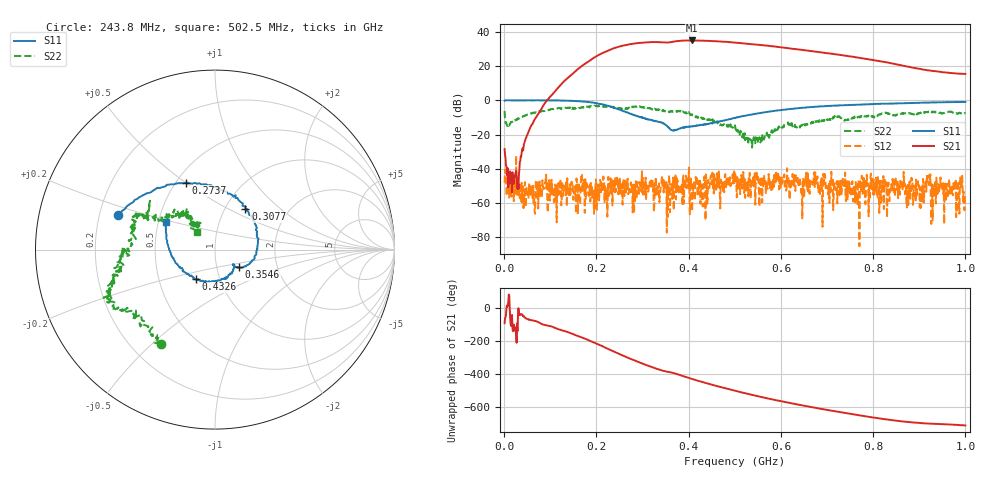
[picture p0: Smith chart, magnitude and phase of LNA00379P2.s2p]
! Created with skrf 1.9.0 (http://scikit-rf.org).
# Hz S RI R 50.0
!freq ReS11 ImS11 ReS21 ImS21 ReS12 ImS12 ReS22 ImS22
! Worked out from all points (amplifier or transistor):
!   1001 points, 1 MHz to 1 GHz, reference 50 ohm
!   highest |S21| = 35.0 dB at 406.6 MHz (marker M1)
!   |S21| within 3 dB of that: 258.2 MHz to 568.2 MHz (310 MHz wide, 75 % of centre)
!   unconditionally stable (mu >= 1): 8.41 MHz to 72.58 MHz; 244.8 MHz to 400.4 MHz; 400.8 MHz to end of sweep (the widest 3 of 32)
!   at 166.8 MHz: K = 0.40, MSG = 32.0 dB, |S12| = -44.2 dB
!   at 500.5 MHz: K = 1.37, MAG = 34.3 dB, |S12| = -41.9 dB
!   at 1 GHz: K = 7.24, MAG = 23.5 dB, |S12| = -54.6 dB
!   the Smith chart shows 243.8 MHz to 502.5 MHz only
!   S11 on the Smith chart (normalised r, x): 243.8 MHz: 0.28, +0.16; 273.7 MHz: 0.56, +0.50; 307.7 MHz: 1.24, +0.61; 354.6 MHz: 1.28, -0.26; 432.6 MHz: 0.77, -0.26; 502.5 MHz: 0.55, +0.19
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1000000  0.9785 -0.00621  -0.00137 -0.0372  -0.00384 -0.000494  0.3744 0.3145
1.08892e8  0.5026 -0.8586  -0.8287 -1.532  -0.00151 -0.000583  0.4303 -0.3587
1.67833e8  -0.2627 -0.8898  -9.963 -0.484  0.000687 -0.00563  0.0405 -0.6284
2.09791e8  -0.692 -0.3539  -15.43 16.96  0.00121 -0.00163  -0.1944 -0.6488
2.43757e8  -0.5412 0.1933  1.002 35.42  -0.00253 0.00255  -0.2987 -0.5266
2.73727e8  -0.1644 0.3715  27.27 34.57  -0.00183 0.00171  -0.5273 -0.3378
3.07693e8  0.1693 0.2276  47.9 12.81  0.000797 -0.000873  -0.5587 -0.1879
3.34666e8  0.2365 0.0025  49.38 -10.49  0.001 0.00218  -0.5308 -0.0664
3.54646e8  0.1353 -0.0988  43.83 -22.19  0.000117 0.000368  -0.4693 0.0537
3.77623e8  0.106 -0.0954  39.8 -37.09  -0.00125 0.00128  -0.4459 0.1757
4.06594e8  0.0232 -0.172  19.91 -52.77  -0.0015 0.00327  -0.3209 0.1999
4.32568e8  -0.1065 -0.1657  -1.086 -55.35  0.00247 0.0023  -0.2192 0.1867
4.65535e8  -0.2331 -0.044  -23.82 -47.24  0.00714 0.00423  -0.1317 0.1855
5.005e8  -0.2667 0.1387  -38.69 -30.31  -0.00224 -0.00768  -0.1394 0.1219
5.02498e8  -0.2717 0.152  -38.8 -29.11  0.00398 0.000602  -0.0996 0.0981
5.4046e8  -0.1909 0.3431  -42.62 -8.751  0.00545 -0.00155  -0.0625 0.0428
5.88412e8  0.02 0.4957  -35.29 11.75  0.00224 -0.00327  -0.1046 -0.0758
6.25375e8  0.1975 0.5335  -25.06 20.24  0.00409 -0.00572  -0.1482 -0.0886
6.67333e8  0.4008 0.4948  -13.01 23.94  -0.00321 -0.00242  -0.2291 -0.0467
7.53247e8  0.6786 0.2811  4.228 18.48  0.001 -0.00163  -0.2874 0.0112
8.34166e8  0.7998 0.024  9.204 8.529  -0.00149 0.000488  -0.404 0.0694
1e9  0.7302 -0.5252  5.87 0.8124  -0.0017 0.00075  -0.1768 0.3615
